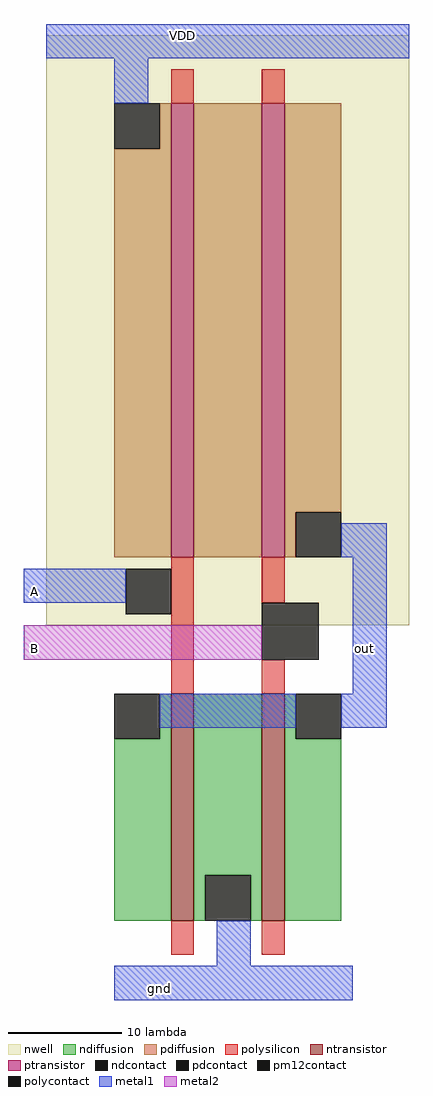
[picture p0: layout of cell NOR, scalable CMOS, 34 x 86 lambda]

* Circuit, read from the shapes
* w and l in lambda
.subckt NOR A B VDD gnd out
M1 gnd A out VSUBS nfet w=20 l=2
M2 out B gnd VSUBS nfet w=20 l=2
M3 n1 A VDD n2 pfet w=40 l=2
M4 out B n1 n2 pfet w=40 l=2
.ends

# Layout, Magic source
magic
tech scmos
<< nwell >>
rect 184 -54 216 -2
<< ntransistor >>
rect 195 -80 197 -60
rect 203 -80 205 -60
<< ptransistor >>
rect 195 -48 197 -8
rect 203 -48 205 -8
<< ndiffusion >>
rect 194 -64 195 -60
rect 190 -80 195 -64
rect 197 -76 203 -60
rect 197 -80 198 -76
rect 202 -80 203 -76
rect 205 -64 206 -60
rect 205 -80 210 -64
<< pdiffusion >>
rect 194 -12 195 -8
rect 190 -48 195 -12
rect 197 -48 203 -8
rect 205 -44 210 -8
rect 205 -48 206 -44
<< ndcontact >>
rect 190 -64 194 -60
rect 198 -80 202 -76
rect 206 -64 210 -60
<< pdcontact >>
rect 190 -12 194 -8
rect 206 -48 210 -44
<< polysilicon >>
rect 195 -8 197 -5
rect 203 -8 205 -5
rect 195 -60 197 -48
rect 203 -52 205 -48
rect 203 -60 205 -57
rect 195 -83 197 -80
rect 203 -83 205 -80
<< polycontact >>
rect 191 -53 195 -49
<< metal1 >>
rect 184 -4 216 -1
rect 190 -8 193 -4
rect 210 -48 214 -45
rect 182 -52 191 -49
rect 211 -60 214 -48
rect 194 -63 206 -60
rect 210 -63 214 -60
rect 199 -84 202 -80
rect 190 -87 211 -84
<< pm12contact >>
rect 203 -57 208 -52
<< metal2 >>
rect 182 -57 203 -54
<< labels >>
rlabel metal1 212 -56 212 -56 7 out
rlabel metal2 183 -56 183 -56 3 B
rlabel metal1 183 -51 183 -51 3 A
rlabel metal1 196 -2 196 -2 5 VDD
rlabel metal1 194 -86 194 -86 1 gnd
<< end >>
